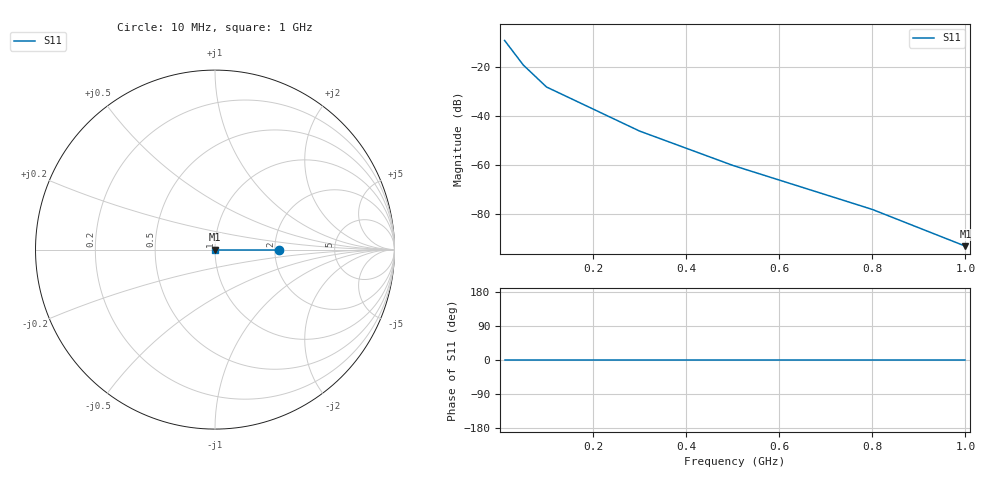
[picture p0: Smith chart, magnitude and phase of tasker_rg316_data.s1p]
! Tasker RG316 https://www.tasker.it/db_files/products/39dd66c20a.pdf
! Date = 27.06.1
# Hz S DB R 50
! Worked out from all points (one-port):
!   7 points, 10 MHz to 1 GHz, reference 50 ohm
!   lowest |S11| = -93.0 dB at 1 GHz (marker M1), VSWR 1.00, Z = 50 + j0 ohm
!   |S11| at or under -10 dB: 14 MHz to end of sweep
1e7  -9.00 0.0
5e7  -19.00 0.0
1e8  -28.00 0.0
3e8  -46.00 0.0
5e8  -60.00 0.0
8e8  -78.00 0.0
1e9  -93.00 0.0
